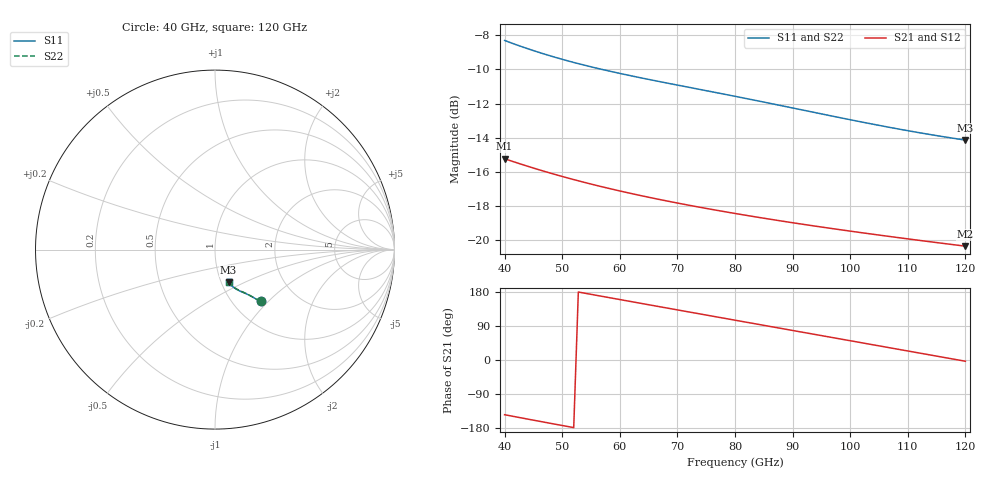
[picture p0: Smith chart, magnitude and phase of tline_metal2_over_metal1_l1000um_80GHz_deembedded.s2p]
! Created with skrf 2.2.0 (http://scikit-rf.org).
# GHz S DB R 50.0
! Port[1] = P1
! Port[2] = P2
!freq dBS11 angS11 dBS21 angS21 dBS12 angS12 dBS22 angS22
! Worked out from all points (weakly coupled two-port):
!   101 points, 40 GHz to 120 GHz, reference 50 ohm
!   highest |S21| = -15.23 dB at 40 GHz (marker M1); lowest = -20.3 dB at 120 GHz (marker M2)
!   lowest |S11| = -14.1 dB at 120 GHz (marker M3), VSWR 1.49, Z = 54.1 - j20.4 ohm
!   |S11| at or under -10 dB: 56.91 GHz to end of sweep
!   |S22| runs from -14.2 to -8.3 dB; largest |S21 - S12| = 2.1e-14
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40  -8.31 -48.6  -15.23 -144.4  -15.23 -144.4  -8.32 -48.6
43.2  -8.69 -49.7  -15.58 -153.6  -15.58 -153.6  -8.72 -49.7
46.4  -9.05 -50.6  -15.92 -162.7  -15.92 -162.7  -9.07 -50.6
49.6  -9.37 -51.4  -16.23 -171.7  -16.23 -171.7  -9.40 -51.4
53.6  -9.73 -52.4  -16.59 177.2  -16.59 177.2  -9.76 -52.4
56.8  -9.99 -53.2  -16.86 168.3  -16.86 168.3  -10.03 -53.2
60  -10.23 -54.0  -17.11 159.5  -17.11 159.5  -10.27 -54.0
64  -10.52 -55.1  -17.41 148.6  -17.41 148.6  -10.56 -55.0
67.2  -10.73 -56.0  -17.63 139.9  -17.63 139.9  -10.78 -55.9
70.4  -10.94 -57.0  -17.85 131.1  -17.85 131.1  -10.99 -56.8
73.6  -11.15 -57.9  -18.05 122.4  -18.05 122.4  -11.20 -57.7
76.8  -11.36 -58.9  -18.24 113.7  -18.24 113.7  -11.41 -58.6
80  -11.57 -59.8  -18.43 105.1  -18.43 105.1  -11.63 -59.6
83.2  -11.79 -60.8  -18.61 96.4  -18.61 96.4  -11.84 -60.5
86.4  -12.01 -61.7  -18.78 87.7  -18.78 87.7  -12.06 -61.3
89.6  -12.23 -62.5  -18.95 79.0  -18.95 79.0  -12.28 -62.1
93.6  -12.51 -63.5  -19.16 68.2  -19.16 68.2  -12.56 -63.1
100.8  -13.00 -65.0  -19.50 48.7  -19.50 48.7  -13.05 -64.5
107.2  -13.41 -66.0  -19.79 31.4  -19.79 31.4  -13.46 -65.4
110.4  -13.61 -66.4  -19.94 22.7  -19.94 22.7  -13.65 -65.8
113.6  -13.80 -66.8  -20.07 14.0  -20.07 14.0  -13.83 -66.2
120  -14.14 -67.5  -20.35 -3.3  -20.35 -3.3  -14.16 -66.8
